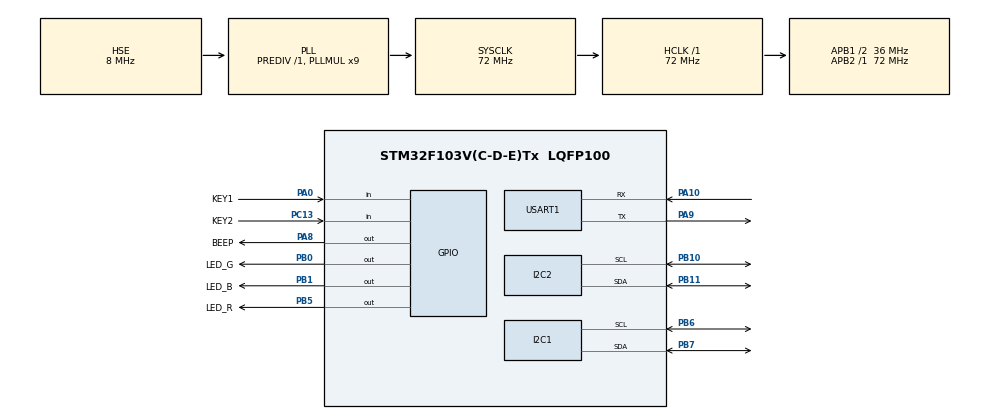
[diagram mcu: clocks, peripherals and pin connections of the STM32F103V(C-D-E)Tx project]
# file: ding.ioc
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Mcu.Family=STM32F1
Mcu.Name=STM32F103V(C-D-E)Tx
Mcu.Package=LQFP100
NVIC.PriorityGroup=NVIC_PRIORITYGROUP_4
NVIC.TIM2_IRQn=true\:0\:0\:false\:false\:true\:false\:true
NVIC.TimeBase=TIM2_IRQn
NVIC.TimeBaseIP=TIM2
NVIC.USART1_IRQn=true\:5\:0\:true\:false\:true\:true\:true
OSC_IN.Mode=HSE-External-Oscillator
OSC_IN.Signal=RCC_OSC_IN
OSC_OUT.Mode=HSE-External-Oscillator
OSC_OUT.Signal=RCC_OSC_OUT
PA0-WKUP.GPIO_Label=KEY1
PA0-WKUP.Signal=GPIO_Input
PA10.Mode=Asynchronous
PA10.Signal=USART1_RX
PA13.Mode=Serial_Wire
PA13.Signal=SYS_JTMS-SWDIO
PA14.Mode=Serial_Wire
PA14.Signal=SYS_JTCK-SWCLK
PA8.GPIO_Label=BEEP
PA8.GPIO_Speed=GPIO_SPEED_FREQ_HIGH
PA8.Signal=GPIO_Output
PA9.Mode=Asynchronous
PA9.Signal=USART1_TX
PB0.GPIO_Label=LED_G
PB0.GPIO_Speed=GPIO_SPEED_FREQ_HIGH
PB0.PinState=GPIO_PIN_SET
PB0.Signal=GPIO_Output
PB1.GPIO_Label=LED_B
PB1.GPIO_Speed=GPIO_SPEED_FREQ_HIGH
PB1.PinState=GPIO_PIN_SET
PB1.Signal=GPIO_Output
PB10.Mode=I2C
PB10.Signal=I2C2_SCL
PB11.Mode=I2C
PB11.Signal=I2C2_SDA
PB5.GPIO_Label=LED_R
PB5.GPIO_Speed=GPIO_SPEED_FREQ_HIGH
PB5.PinState=GPIO_PIN_SET
PB5.Signal=GPIO_Output
PB6.Mode=I2C
PB6.Signal=I2C1_SCL
PB7.Mode=I2C
PB7.Signal=I2C1_SDA
PC13-TAMPER-RTC.GPIO_Label=KEY2
PC13-TAMPER-RTC.Signal=GPIO_Input
ProjectManager.HeapSize=0x0
ProjectManager.StackSize=0x400
ProjectManager.TargetToolchain=MDK-ARM V5
RCC.AHBFreq_Value=72000000
RCC.APB1CLKDivider=RCC_HCLK_DIV2
RCC.APB1Freq_Value=36000000
RCC.APB1TimFreq_Value=72000000
RCC.APB2Freq_Value=72000000
RCC.APB2TimFreq_Value=72000000
RCC.HCLKFreq_Value=72000000
RCC.PLLMUL=RCC_PLL_MUL9
RCC.PLLSourceVirtual=RCC_PLLSOURCE_HSE
RCC.SYSCLKFreq_VALUE=72000000
RCC.SYSCLKSource=RCC_SYSCLKSOURCE_PLLCLK
RCC.USBFreq_Value=72000000
USART1.VirtualMode=VM_ASYNC
VP_SYS_VS_tim2.Mode=TIM2
board=custom

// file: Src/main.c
/* USER CODE BEGIN Header */
/**
  ******************************************************************************
  * @file           : main.c
  * @brief          : Main program body
  ******************************************************************************
  * @attention
  *
  * <h2><center>&copy; Copyright (c) 2020 STMicroelectronics.
  * All rights reserved.</center></h2>
  *
  * This software component is licensed by ST under BSD 3-Clause license,
  * the "License"; You may not use this file except in compliance with the
  * License. You may obtain a copy of the License at:
  *                        opensource.org/licenses/BSD-3-Clause
  *
  ******************************************************************************
  */
/* USER CODE END Header */

#include "main.h"
#include "i2c.h"
#include "usart.h"
#include "gpio.h"

/* USER CODE BEGIN Includes */
#include "bsp_led.h"
#include "bsp_key.h"
#include "bsp_usart.h"
#include "bsp_beep.h"

#include "FreeRTOS.h"
#include "task.h"
#include "queue.h"
#include "semphr.h"

#include <string.h>

/* USER CODE END Includes */

void SystemClock_Config(void);
/* USER CODE BEGIN PFP */
void start_task(void *pvParameters);
void task1_task(void *pvParameters);
void task2_task(void *pvParameters);

/* USER CODE END PFP */

/* USER CODE BEGIN 0 */

/* 任务相关参数 */
#define START_TASK_SIZE     128
#define START_TASK_PRIO     1
TaskHandle_t start_Task_Handle;

#define TASK1_TASK_SIZE     128
#define TASK1_TASK_PRIO     2
TaskHandle_t task1_task_Handle;

#define TASK2_TASK_SIZE     128
#define TASK2_TASK_PRIO     3
TaskHandle_t task2_task_Handle;

uint8_t RX_BUFFER[USART_BUFFER_LEN];        // 串口接收缓冲区

SemaphoreHandle_t binary_semaphore = NULL;  // 二值信号量句柄

/* USER CODE END 0 */

int main(void)
{

  /* MCU Configuration--------------------------------------------------------*/

  /* Reset of all peripherals, Initializes the Flash interface and the Systick. */
  HAL_Init();

  /* Configure the system clock */
  SystemClock_Config();

  /* Initialize all configured peripherals */
  MX_GPIO_Init();
  MX_USART1_UART_Init();
  MX_I2C1_Init();
  MX_I2C2_Init();
  /* USER CODE BEGIN 2 */

  // 使能串口接收中断和空闲中断，并清除标志位
  __HAL_UART_CLEAR_FLAG(&huart1, UART_FLAG_IDLE);
  __HAL_UART_CLEAR_FLAG(&huart1, UART_FLAG_RXNE);
  __HAL_UART_ENABLE_IT(&huart1, UART_IT_IDLE);
  __HAL_UART_ENABLE_IT(&huart1, UART_IT_RXNE);

  // 创建开始任务
  xTaskCreate((TaskFunction_t )start_task,
              (char *         )"start_task",
              (uint16_t       )START_TASK_SIZE,
              (void *         )NULL,
              (UBaseType_t    )START_TASK_PRIO,
              (TaskHandle_t * )&start_Task_Handle);

  vTaskStartScheduler(); // 开启调度器

  /* USER CODE END 2 */

  /* Infinite loop */
  while (1)
  {

  }
}

void SystemClock_Config(void)
{
  RCC_OscInitTypeDef RCC_OscInitStruct = {0};
  RCC_ClkInitTypeDef RCC_ClkInitStruct = {0};

  /** Initializes the CPU, AHB and APB busses clocks
  */
  RCC_OscInitStruct.OscillatorType = RCC_OSCILLATORTYPE_HSE;
  RCC_OscInitStruct.HSEState = RCC_HSE_ON;
  RCC_OscInitStruct.HSEPredivValue = RCC_HSE_PREDIV_DIV1;
  RCC_OscInitStruct.HSIState = RCC_HSI_ON;
  RCC_OscInitStruct.PLL.PLLState = RCC_PLL_ON;
  RCC_OscInitStruct.PLL.PLLSource = RCC_PLLSOURCE_HSE;
  RCC_OscInitStruct.PLL.PLLMUL = RCC_PLL_MUL9;
  if (HAL_RCC_OscConfig(&RCC_OscInitStruct) != HAL_OK)
  {
    Error_Handler();
  }
  /** Initializes the CPU, AHB and APB busses clocks
  */
  RCC_ClkInitStruct.ClockType = RCC_CLOCKTYPE_HCLK|RCC_CLOCKTYPE_SYSCLK
                              |RCC_CLOCKTYPE_PCLK1|RCC_CLOCKTYPE_PCLK2;
  RCC_ClkInitStruct.SYSCLKSource = RCC_SYSCLKSOURCE_PLLCLK;
  RCC_ClkInitStruct.AHBCLKDivider = RCC_SYSCLK_DIV1;
  RCC_ClkInitStruct.APB1CLKDivider = RCC_HCLK_DIV2;
  RCC_ClkInitStruct.APB2CLKDivider = RCC_HCLK_DIV1;

  if (HAL_RCC_ClockConfig(&RCC_ClkInitStruct, FLASH_LATENCY_2) != HAL_OK)
  {
    Error_Handler();
  }
}

/* USER CODE BEGIN 4 */

void start_task(void *pvParameters)
{
  taskENTER_CRITICAL();

  binary_semaphore = xSemaphoreCreateBinary();  // 创建信号量
  if (binary_semaphore != NULL)
  {
    printf("信号量创建成功!\n");
  }
  else
  {
    printf("信号量创建失败!\n");
  }

  // 创建任务1
  xTaskCreate((TaskFunction_t )task1_task,
              (char *         )"task1_task",
              (uint16_t       )TASK1_TASK_SIZE,
              (void *         )NULL,
              (UBaseType_t    )TASK1_TASK_PRIO,
              (TaskHandle_t * )&task1_task_Handle);
    // 创建任务2
  xTaskCreate((TaskFunction_t )task2_task,
              (char *         )"task2_task",
              (uint16_t       )TASK2_TASK_SIZE,
              (void *         )NULL,
              (UBaseType_t    )TASK2_TASK_PRIO,
              (TaskHandle_t * )&task2_task_Handle);
  taskEXIT_CRITICAL();
  // 删除开始任务
  vTaskDelete(start_Task_Handle);
}

void task1_task(void *pvParameters)
{
  for (;;)
  {
    printf("task1 running\r\n");
    vTaskDelay(1000);
  }
}

void task2_task(void *pvParameters)
{
  uint16_t count = 0;
  BaseType_t err_state;
  for (;;)
  {
    if (binary_semaphore != NULL)
    {
      // 一直等待，直到获取到二值信号量
      err_state = xSemaphoreTake(binary_semaphore, portMAX_DELAY);
      if (err_state == pdTRUE)
      {
        if (strcmp((char *)RX_BUFFER, "LED_ON") == 0)
        {
          LED_RED;
        }
        if (strcmp((char *)RX_BUFFER, "LED_OFF") == 0)
        {
          LED_ALL_OFF;
        }
        if (strcmp((char *)RX_BUFFER, "BEEP_ON") == 0)
        {
          BEEP_ON;
        }
        if (strcmp((char *)RX_BUFFER, "BEEP_OFF") == 0)
        {
          BEEP_OFF;
        }
        memset(RX_BUFFER, 0, USART_BUFFER_LEN);
      }
    }
    printf("we get %d times binary\n", ++count);
    vTaskDelay(20);
  }
}

/* USER CODE END 4 */

void HAL_TIM_PeriodElapsedCallback(TIM_HandleTypeDef *htim)
{
  if (htim->Instance == TIM2) {
    HAL_IncTick();
  }
}

void Error_Handler(void)
{
}

/************************ (C) COPYRIGHT STMicroelectronics *****END OF FILE****/
